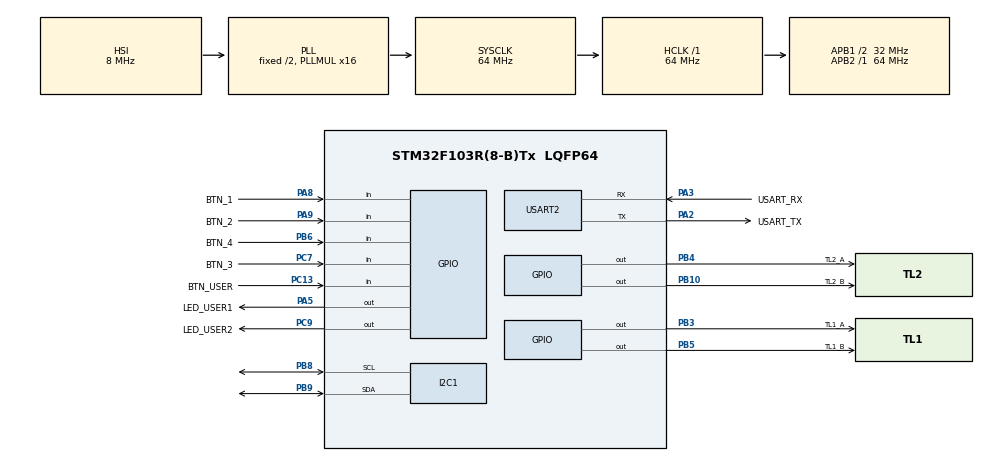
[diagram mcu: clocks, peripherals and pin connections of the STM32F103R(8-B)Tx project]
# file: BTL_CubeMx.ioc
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Mcu.Family=STM32F1
Mcu.Name=STM32F103R(8-B)Tx
Mcu.Package=LQFP64
NVIC.PriorityGroup=NVIC_PRIORITYGROUP_4
NVIC.TIM2_IRQn=true\:0\:0\:false\:false\:true\:true\:true
PA13.GPIO_Label=TMS
PA13.Mode=Serial_Wire
PA13.Signal=SYS_JTMS-SWDIO
PA14.GPIO_Label=TCK
PA14.Mode=Serial_Wire
PA14.Signal=SYS_JTCK-SWCLK
PA2.GPIO_Label=USART_TX
PA2.GPIO_Mode=GPIO_MODE_AF_PP
PA2.GPIO_PuPd=GPIO_NOPULL
PA2.GPIO_Speed=GPIO_SPEED_FREQ_LOW
PA2.Mode=Asynchronous
PA2.Signal=USART2_TX
PA3.GPIO_Label=USART_RX
PA3.GPIO_Mode=GPIO_MODE_AF_PP
PA3.GPIO_PuPd=GPIO_NOPULL
PA3.GPIO_Speed=GPIO_SPEED_FREQ_LOW
PA3.Mode=Asynchronous
PA3.Signal=USART2_RX
PA5.GPIO_Label=LED_USER1
PA5.GPIO_ModeDefaultOutputPP=GPIO_MODE_OUTPUT_PP
PA5.GPIO_PuPd=GPIO_NOPULL
PA5.GPIO_Speed=GPIO_SPEED_FREQ_LOW
PA5.Signal=GPIO_Output
PA8.GPIO_Label=BTN_1
PA8.GPIO_PuPd=GPIO_PULLUP
PA8.Signal=GPIO_Input
PA9.GPIO_Label=BTN_2
PA9.GPIO_PuPd=GPIO_PULLUP
PA9.Signal=GPIO_Input
PB10.GPIO_Label=TL2_B
PB10.Signal=GPIO_Output
PB3.GPIO_Label=TL1_A
PB3.Signal=GPIO_Output
PB4.GPIO_Label=TL2_A
PB4.Signal=GPIO_Output
PB5.GPIO_Label=TL1_B
PB5.Signal=GPIO_Output
PB6.GPIO_Label=BTN_4
PB6.GPIO_PuPd=GPIO_PULLUP
PB6.Signal=GPIO_Input
PB8.Mode=I2C
PB8.Signal=I2C1_SCL
PB9.Mode=I2C
PB9.Signal=I2C1_SDA
PC13-TAMPER-RTC.GPIO_Label=BTN_USER
PC13-TAMPER-RTC.Signal=GPIO_Input
PC14-OSC32_IN.Mode=LSE-External-Oscillator
PC14-OSC32_IN.Signal=RCC_OSC32_IN
PC15-OSC32_OUT.Mode=LSE-External-Oscillator
PC15-OSC32_OUT.Signal=RCC_OSC32_OUT
PC7.GPIO_Label=BTN_3
PC7.GPIO_PuPd=GPIO_PULLUP
PC7.Signal=GPIO_Input
PC9.GPIO_Label=LED_USER2
PC9.Signal=GPIO_Output
PD0-OSC_IN.Mode=HSE-External-Clock-Source
PD0-OSC_IN.Signal=RCC_OSC_IN
PD1-OSC_OUT.Mode=HSE-External-Clock-Source
PD1-OSC_OUT.Signal=RCC_OSC_OUT
ProjectManager.HeapSize=0x200
ProjectManager.StackSize=0x400
ProjectManager.TargetToolchain=STM32CubeIDE
RCC.AHBFreq_Value=64000000
RCC.APB1CLKDivider=RCC_HCLK_DIV2
RCC.APB1Freq_Value=32000000
RCC.APB1TimFreq_Value=64000000
RCC.APB2Freq_Value=64000000
RCC.APB2TimFreq_Value=64000000
RCC.HCLKFreq_Value=64000000
RCC.PLLMUL=RCC_PLL_MUL16
RCC.RTCClockSelection=RCC_RTCCLKSOURCE_LSE
RCC.SYSCLKFreq_VALUE=64000000
RCC.SYSCLKSource=RCC_SYSCLKSOURCE_PLLCLK
RCC.USBFreq_Value=64000000
TIM2.AutoReloadPreload=TIM_AUTORELOAD_PRELOAD_ENABLE
TIM2.Period=99
TIM2.Prescaler=6399
USART2.VirtualMode=VM_ASYNC
VP_TIM2_VS_ClockSourceINT.Mode=Internal
board=NUCLEO-F103RB

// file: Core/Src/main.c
/* USER CODE BEGIN Header */
/**
  ******************************************************************************
  * @file           : main.c
  * @brief          : Main program body
  ******************************************************************************
  * @attention
  *
  * <h2><center>&copy; Copyright (c) 2026 STMicroelectronics.
  * All rights reserved.</center></h2>
  *
  * This software component is licensed by ST under BSD 3-Clause license,
  * the "License"; You may not use this file except in compliance with the
  * License. You may obtain a copy of the License at:
  *                        opensource.org/licenses/BSD-3-Clause
  *
  ******************************************************************************
  */
/* USER CODE END Header */
#include "main.h"
#include "i2c.h"
#include "tim.h"
#include "usart.h"
#include "gpio.h"

/* USER CODE BEGIN Includes */
#include "pin_config.h"
#include "global.h"
#include "scheduler.h"
#include "software_timer.h"
#include "button.h"
#include "traffic_light.h"
#include "dht20.h"
#include "lcd.h"
#include "fsm_automatic.h"
#include "fsm_manual.h"
#include "fsm_tuning.h"
/* USER CODE END Includes */

void SystemClock_Config(void);

/* USER CODE BEGIN 0 */
static void system_fsm_task(void)
{
    if (status == SYS_INIT) {
        status = AUTO_INIT;
    }

    switch (status) {
        case AUTO_INIT:
        case AUTO_RED1_GREEN2:
        case AUTO_RED1_AMBER2:
        case AUTO_GREEN1_RED2:
        case AUTO_AMBER1_RED2:
            fsm_automatic_run();
            break;

        case MAN_INIT:
        case MAN_RED1_GREEN2:
        case MAN_RED1_AMBER2:
        case MAN_GREEN1_RED2:
        case MAN_AMBER1_RED2:
        case MAN_ALL_RED:
            fsm_manual_run();
            break;

        case TUN_INIT:
        case TUN_RED:
        case TUN_GREEN:
        case TUN_AMBER:
            fsm_tuning_run();
            break;

        default:
            status = AUTO_INIT;
            break;
    }
}

static void lcd_update_task(void)
{
    switch (status) {
        case AUTO_RED1_GREEN2:
        case AUTO_RED1_AMBER2:
        case AUTO_GREEN1_RED2:
        case AUTO_AMBER1_RED2:
            lcd_display_auto(countdown_lane1, countdown_lane2,
                             env_temperature, env_humidity, env_data_valid);
            break;

        case MAN_RED1_GREEN2:
            lcd_display_manual("R1 - G2", env_temperature, env_humidity, env_data_valid);
            break;
        case MAN_RED1_AMBER2:
            lcd_display_manual("R1 - A2", env_temperature, env_humidity, env_data_valid);
            break;
        case MAN_GREEN1_RED2:
            lcd_display_manual("G1 - R2", env_temperature, env_humidity, env_data_valid);
            break;
        case MAN_AMBER1_RED2:
            lcd_display_manual("A1 - R2", env_temperature, env_humidity, env_data_valid);
            break;
        case MAN_ALL_RED:
            lcd_display_manual("ALL RED", env_temperature, env_humidity, env_data_valid);
            break;

        case TUN_INIT:
        case TUN_RED:
        case TUN_GREEN:
        case TUN_AMBER:
            /* LCD is managed directly by fsm_tuning.c (including error message) */
            break;

        default:
            break;
    }
}

void HAL_TIM_PeriodElapsedCallback(TIM_HandleTypeDef *htim)
{
    if (htim->Instance == TIM2) {
        SCH_Update();
    }
}
/* USER CODE END 0 */

int main(void)
{

  /* MCU Configuration--------------------------------------------------------*/

  /* Reset of all peripherals, Initializes the Flash interface and the Systick. */
  HAL_Init();

  /* Configure the system clock */
  SystemClock_Config();

  /* Initialize all configured peripherals */
  MX_GPIO_Init();
  MX_USART2_UART_Init();
  MX_I2C1_Init();
  MX_TIM2_Init();
  /* USER CODE BEGIN 2 */
  global_init();
  SCH_Init();
  timer_init();
  button_init();
  traffic_init();
  dht20_init();
  lcd_init();

  SCH_Add_Task(timer_run, 0U, 1U);        /* 10 ms */
  SCH_Add_Task(button_read, 0U, 1U);      /* 10 ms */
  SCH_Add_Task(system_fsm_task, 1U, 1U);  /* 10 ms */
  SCH_Add_Task(dht20_task, 2U, 5U);       /* 50 ms */
  SCH_Add_Task(lcd_update_task, 5U, 20U); /* 50 ms offset, 200 ms period */

  HAL_TIM_Base_Start_IT(&htim2);
  /* USER CODE END 2 */

  /* Infinite loop */
  while (1)
  {

    /* USER CODE BEGIN 3 */
    SCH_Dispatch_Tasks();
  }
  /* USER CODE END 3 */
}

void SystemClock_Config(void)
{
  RCC_OscInitTypeDef RCC_OscInitStruct = {0};
  RCC_ClkInitTypeDef RCC_ClkInitStruct = {0};

  /** Initializes the RCC Oscillators according to the specified parameters
  * in the RCC_OscInitTypeDef structure.
  */
  RCC_OscInitStruct.OscillatorType = RCC_OSCILLATORTYPE_HSI;
  RCC_OscInitStruct.HSIState = RCC_HSI_ON;
  RCC_OscInitStruct.HSICalibrationValue = RCC_HSICALIBRATION_DEFAULT;
  RCC_OscInitStruct.PLL.PLLState = RCC_PLL_ON;
  RCC_OscInitStruct.PLL.PLLSource = RCC_PLLSOURCE_HSI_DIV2;
  RCC_OscInitStruct.PLL.PLLMUL = RCC_PLL_MUL16;
  if (HAL_RCC_OscConfig(&RCC_OscInitStruct) != HAL_OK)
  {
    Error_Handler();
  }
  /** Initializes the CPU, AHB and APB buses clocks
  */
  RCC_ClkInitStruct.ClockType = RCC_CLOCKTYPE_HCLK|RCC_CLOCKTYPE_SYSCLK
                              |RCC_CLOCKTYPE_PCLK1|RCC_CLOCKTYPE_PCLK2;
  RCC_ClkInitStruct.SYSCLKSource = RCC_SYSCLKSOURCE_PLLCLK;
  RCC_ClkInitStruct.AHBCLKDivider = RCC_SYSCLK_DIV1;
  RCC_ClkInitStruct.APB1CLKDivider = RCC_HCLK_DIV2;
  RCC_ClkInitStruct.APB2CLKDivider = RCC_HCLK_DIV1;

  if (HAL_RCC_ClockConfig(&RCC_ClkInitStruct, FLASH_LATENCY_2) != HAL_OK)
  {
    Error_Handler();
  }
}

void Error_Handler(void)
{
  __disable_irq();
  while (1)
  {
  }
}

/************************ (C) COPYRIGHT STMicroelectronics *****END OF FILE****/
